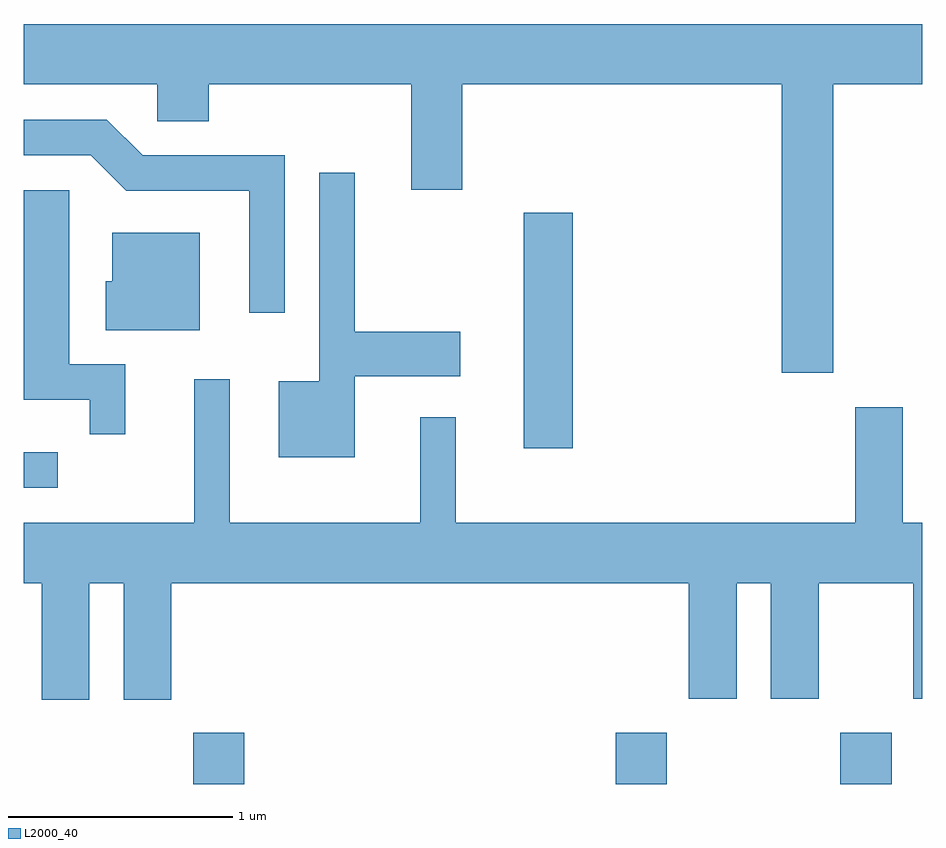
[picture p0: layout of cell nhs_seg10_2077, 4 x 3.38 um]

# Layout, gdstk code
import gdstk
lib = gdstk.Library(unit=1e-6, precision=1e-09)
def R(c, l, rs):  # rectangles x0, y0, x1, y1
    for r in rs: c.add(gdstk.rectangle(r[:2], r[2:], *l))
def P(c, l, *ps):  # polygons
    for p in ps: c.add(gdstk.Polygon(p, *l))
L2000_40 = (2000, 40)

nhs_seg10_2077 = lib.new_cell('nhs_seg10_2077')
R(nhs_seg10_2077, L2000_40, [(246.366,2168.522,246.594,2168.749), (248.246,2168.522,248.474,2168.749), (249.246,2168.522,249.474,2168.749), (245.611,2169.841,245.763,2169.999), (247.836,2170.016,248.054,2171.064)])
P(nhs_seg10_2077, L2000_40, [(249.214,2171.636),(249.611,2171.636),(249.611,2171.904),(245.611,2171.904),(245.611,2171.636),(246.206,2171.636),(246.206,2171.471),(246.434,2171.471),(246.434,2171.636),(247.336,2171.636),(247.336,2171.166),(247.564,2171.166),(247.564,2171.636),(248.986,2171.636),(248.986,2170.351),(249.214,2170.351)],
  [(246.774,2171.319),(246.142,2171.319),(245.982,2171.479),(245.611,2171.479),(245.611,2171.321),(245.909,2171.321),(246.069,2171.161),(246.616,2171.161),(246.616,2170.618),(246.774,2170.618)],
  [(247.084,2170.336),(247.554,2170.336),(247.554,2170.534),(247.084,2170.534),(247.084,2171.243),(246.926,2171.243),(246.926,2170.314),(246.746,2170.314),(246.746,2169.976),(247.084,2169.976)],
  [(246.064,2170.389),(245.814,2170.389),(245.814,2171.164),(245.611,2171.164),(245.611,2170.231),(245.906,2170.231),(245.906,2170.078),(246.064,2170.078)],
  [(246.394,2170.974),(246.006,2170.974),(246.006,2170.759),(245.976,2170.759),(245.976,2170.541),(246.394,2170.541)],
  [(245.904,2169.416),(246.056,2169.416),(246.056,2168.896),(246.269,2168.896),(246.269,2169.416),(248.571,2169.416),(248.571,2168.901),(248.784,2168.901),(248.784,2169.416),(248.936,2169.416),(248.936,2168.901),(249.149,2168.901),(249.149,2169.416),(249.571,2169.416),(249.571,2168.901),(249.611,2168.901),(249.611,2169.684),(249.524,2169.684),(249.524,2170.199),(249.311,2170.199),(249.311,2169.684),(247.534,2169.684),(247.534,2170.153),(247.376,2170.153),(247.376,2169.684),(246.529,2169.684),(246.529,2170.323),(246.371,2170.323),(246.371,2169.684),(245.611,2169.684),(245.611,2169.416),(245.691,2169.416),(245.691,2168.896),(245.904,2168.896)])

lib.write_gds('nhs_seg10_2077.gds')
